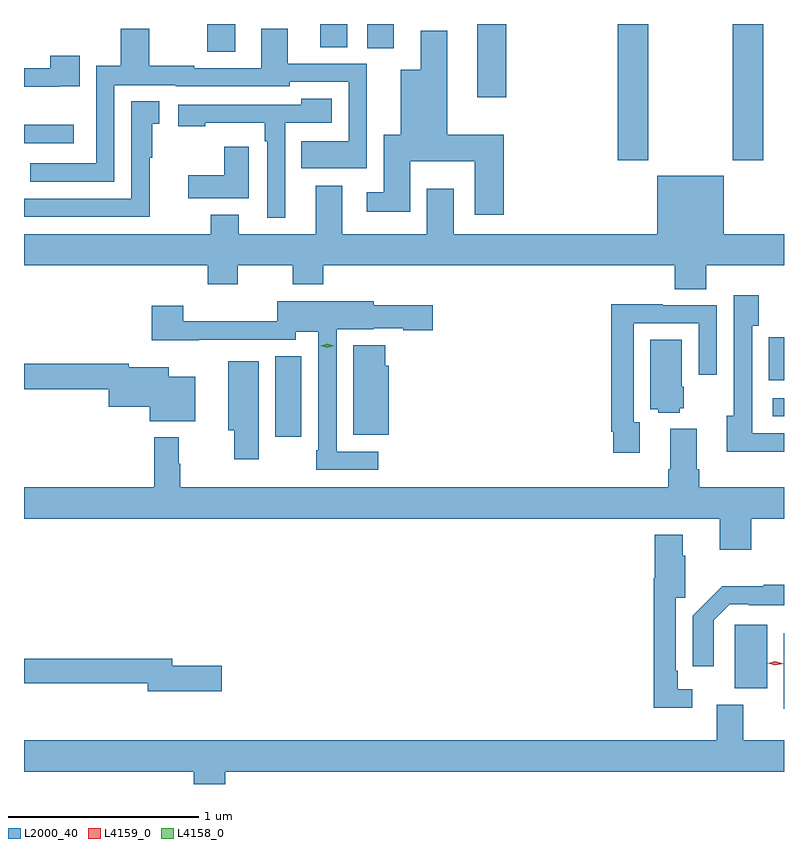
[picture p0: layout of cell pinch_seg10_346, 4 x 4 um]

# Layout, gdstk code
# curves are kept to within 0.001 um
import gdstk
lib = gdstk.Library(unit=1e-6, precision=1e-09)
def R(c, l, rs):  # rectangles x0, y0, x1, y1
    for r in rs: c.add(gdstk.rectangle(r[:2], r[2:], *l))
def P(c, l, *ps):  # polygons
    for p in ps: c.add(gdstk.Polygon(p, *l))
L2000_40 = (2000, 40)
L4158_0 = (4158, 0)
L4159_0 = (4159, 0)

pinch_seg10_346 = lib.new_cell('pinch_seg10_346')
R(pinch_seg10_346, L2000_40, [(483.488,1262.018,483.489,1262.416), (483.23,1262.126,483.4,1262.46), (480.812,1263.45,480.949,1263.875), (483.429,1263.558,483.489,1263.654), (483.41,1263.747,483.489,1263.975), (482.615,1264.905,482.775,1265.623), (483.22,1264.905,483.38,1265.623), (479.489,1264.995,479.752,1265.093), (481.874,1265.238,482.027,1265.623), (480.454,1265.478,480.601,1265.623), (481.295,1265.496,481.435,1265.623), (481.049,1265.5,481.189,1265.623)])
P(pinch_seg10_346, L2000_40, [(479.964,1265.301),(480.288,1265.301),(480.288,1265.295),(480.888,1265.295),(480.888,1265.319),(481.197,1265.319),(481.197,1265.005),(480.949,1265.005),(480.949,1264.865),(481.294,1264.865),(481.294,1265.415),(480.877,1265.415),(480.877,1265.599),(480.737,1265.599),(480.737,1265.391),(480.384,1265.391),(480.384,1265.402),(480.147,1265.402),(480.147,1265.599),(479.999,1265.599),(479.999,1265.402),(479.868,1265.402),(479.868,1264.89),(479.521,1264.89),(479.521,1264.794),(479.964,1264.794)],
  [(482.015,1265.041),(481.717,1265.041),(481.717,1265.587),(481.577,1265.587),(481.577,1265.383),(481.472,1265.383),(481.472,1265.041),(481.382,1265.041),(481.382,1264.738),(481.293,1264.738),(481.293,1264.634),(481.522,1264.634),(481.522,1264.901),(481.862,1264.901),(481.862,1264.62),(482.015,1264.62)],
  [(479.675,1265.295),(479.783,1265.295),(479.783,1265.455),(479.627,1265.455),(479.627,1265.391),(479.489,1265.391),(479.489,1265.294),(479.675,1265.294)],
  [(480.864,1265.103),(481.108,1265.103),(481.108,1265.23),(480.947,1265.23),(480.947,1265.199),(480.3,1265.199),(480.3,1265.084),(480.444,1265.084),(480.444,1265.103),(480.756,1265.103),(480.756,1265.006),(480.768,1265.006),(480.768,1264.602),(480.864,1264.602)],
  [(480.152,1264.918),(480.163,1264.918),(480.163,1265.099),(480.202,1265.099),(480.202,1265.216),(480.054,1265.216),(480.054,1264.704),(479.489,1264.704),(479.489,1264.608),(480.152,1264.608)],
  [(480.673,1264.978),(480.544,1264.978),(480.544,1264.828),(480.354,1264.828),(480.354,1264.706),(480.673,1264.706)],
  [(483.08,1264.352),(483.489,1264.352),(483.489,1264.516),(483.172,1264.516),(483.172,1264.825),(482.822,1264.825),(482.822,1264.516),(481.75,1264.516),(481.75,1264.756),(481.61,1264.756),(481.61,1264.516),(481.165,1264.516),(481.165,1264.771),(481.025,1264.771),(481.025,1264.516),(480.619,1264.516),(480.619,1264.618),(480.472,1264.618),(480.472,1264.516),(479.489,1264.516),(479.489,1264.352),(480.455,1264.352),(480.455,1264.253),(480.615,1264.253),(480.615,1264.352),(480.904,1264.352),(480.904,1264.253),(481.064,1264.253),(481.064,1264.352),(482.915,1264.352),(482.915,1264.228),(483.08,1264.228)],
  [(483.489,1263.468),(483.321,1263.468),(483.321,1264.034),(483.355,1264.034),(483.355,1264.195),(483.225,1264.195),(483.225,1263.562),(483.188,1263.562),(483.188,1263.371),(483.489,1263.371)],
  [(481.354,1263.372),(481.134,1263.372),(481.134,1264.016),(481.329,1264.016),(481.329,1264.022),(481.486,1264.022),(481.486,1264.01),(481.639,1264.01),(481.639,1264.144),(481.329,1264.144),(481.329,1264.165),(480.822,1264.165),(480.822,1264.058),(480.326,1264.058),(480.326,1264.141),(480.161,1264.141),(480.161,1263.959),(480.409,1263.959),(480.409,1263.96),(480.918,1263.96),(480.918,1264.004),(481.038,1264.004),(481.038,1263.379),(481.026,1263.379),(481.026,1263.276),(481.354,1263.276)],
  [(482.731,1263.527),(482.697,1263.527),(482.697,1264.047),(483.039,1264.047),(483.039,1263.777),(483.135,1263.777),(483.135,1264.143),(482.851,1264.143),(482.851,1264.147),(482.581,1264.147),(482.581,1263.478),(482.589,1263.478),(482.589,1263.366),(482.731,1263.366)],
  [(482.94,1263.6),(482.962,1263.6),(482.962,1263.714),(482.95,1263.714),(482.95,1263.962),(482.786,1263.962),(482.786,1263.596),(482.826,1263.596),(482.826,1263.578),(482.94,1263.578)],
  [(481.408,1263.825),(481.39,1263.825),(481.39,1263.931),(481.223,1263.931),(481.223,1263.461),(481.408,1263.461)],
  [(480.724,1263.847),(480.563,1263.847),(480.563,1263.485),(480.595,1263.485),(480.595,1263.333),(480.724,1263.333)],
  [(480.391,1263.766),(480.25,1263.766),(480.25,1263.817),(480.04,1263.817),(480.04,1263.836),(479.489,1263.836),(479.489,1263.7),(479.936,1263.7),(479.936,1263.608),(480.152,1263.608),(480.152,1263.533),(480.391,1263.533)],
  [(483.316,1263.02),(483.489,1263.02),(483.489,1263.184),(483.044,1263.184),(483.044,1263.28),(483.031,1263.28),(483.031,1263.493),(482.891,1263.493),(482.891,1263.28),(482.879,1263.28),(482.879,1263.184),(480.311,1263.184),(480.311,1263.308),(480.304,1263.308),(480.304,1263.448),(480.175,1263.448),(480.175,1263.184),(479.489,1263.184),(479.489,1263.02),(483.152,1263.02),(483.152,1262.856),(483.316,1262.856)],
  [(483.007,1262.121),(482.931,1262.121),(482.931,1262.218),(482.919,1262.218),(482.919,1262.604),(482.969,1262.604),(482.969,1262.825),(482.956,1262.825),(482.956,1262.935),(482.81,1262.935),(482.81,1262.707),(482.803,1262.707),(482.803,1262.024),(483.007,1262.024)],
  [(483.12,1262.484),(483.204,1262.568),(483.304,1262.568),(483.304,1262.564),(483.489,1262.564),(483.489,1262.673),(483.383,1262.673),(483.383,1262.665),(483.163,1262.665),(483.008,1262.508),(483.008,1262.244),(483.12,1262.244)],
  [(480.529,1262.246),(480.268,1262.246),(480.268,1262.282),(479.489,1262.282),(479.489,1262.154),(480.14,1262.154),(480.14,1262.111),(480.529,1262.111)],
  [(480.548,1261.688),(483.489,1261.688),(483.489,1261.852),(483.274,1261.852),(483.274,1262.041),(483.134,1262.041),(483.134,1261.852),(479.489,1261.852),(479.489,1261.688),(480.383,1261.688),(480.383,1261.623),(480.548,1261.623)])
P(pinch_seg10_346, L4158_0, [(481.086,1263.92),(481.051,1263.929),(481.051,1263.93),(481.051,1263.93),(481.086,1263.94),(481.12,1263.93),(481.121,1263.93),(481.12,1263.929)])
P(pinch_seg10_346, L4159_0, [(483.444,1262.248),(483.403,1262.259),(483.403,1262.259),(483.403,1262.259),(483.444,1262.268),(483.485,1262.257),(483.485,1262.257),(483.485,1262.257)])

lib.write_gds('pinch_seg10_346.gds')
